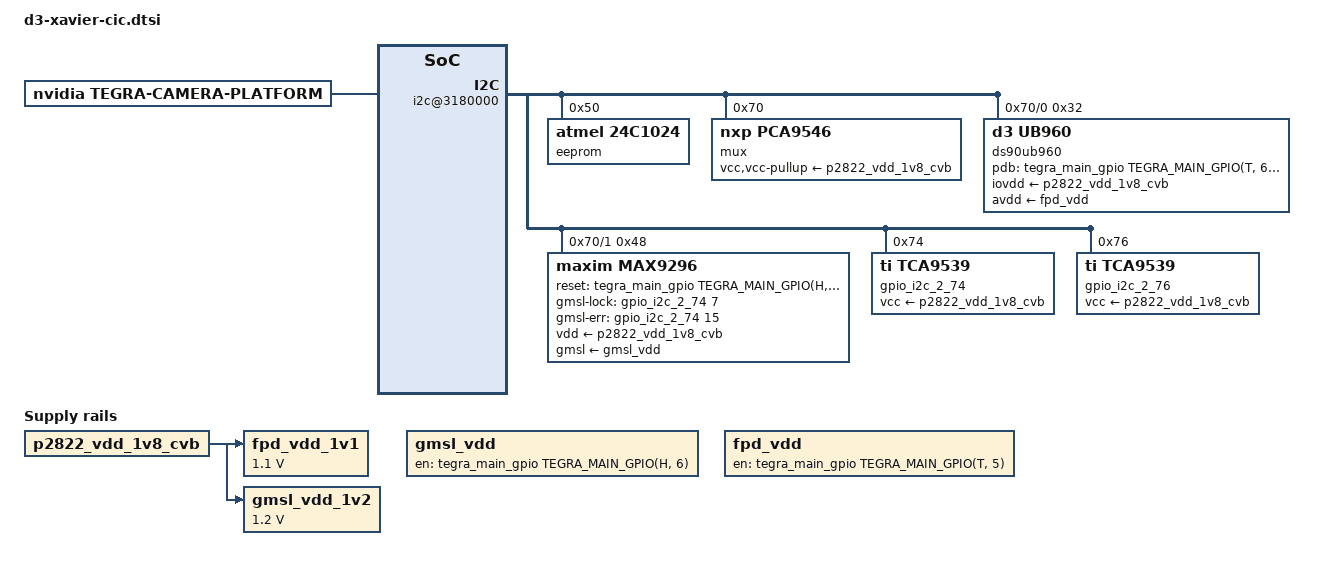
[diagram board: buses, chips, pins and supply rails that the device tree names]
/*
 * Copyright (c) 2018-2019, D3 Engineering.  All rights reserved.  * * This program is free software; you can redistribute it and/or modify * it under the terms of the GNU General Public License as published by
 * the Free Software Foundation; version 2 of the License.
 *
 * This program is distributed in the hope that it will be useful, but WITHOUT
 * ANY WARRANTY; without even the implied warranty of MERCHANTABILITY or
 * FITNESS FOR A PARTICULAR PURPOSE.  See the GNU General Public License for
 * more details.
 */
#include "d3-xavier.dtsi"
#define D3_BOARD_XAVIER_CIC
/ {

	/* I2C_CAM, DT alias: i2c2 (clock: C6, data: D6) */
	i2c@3180000 {

		/* Microchip 24AA1026 (U28) */
		eeprom@50 {
			status = "okay";
			compatible = "atmel,24c1024";
			reg = <0x50>;
			pagesize = <128>;

		};

		/* I2C MUX: TCA9546 (U27) */
		mux@70 {
			status = "okay";
			compatible = "nxp,pca9546";
			reg = <0x70>;
			#address-cells = <1>;
			#size-cells = <0>;
			vcc-supply = <&p2822_vdd_1v8_cvb>;
			vcc-pullup-supply = <&p2822_vdd_1v8_cvb>;

			i2c_fpdlink: i2c@0 {
				status = "okay";
				reg = <0>;
				#address-cells = <1>;
				#size-cells = <0>;
				i2c-mux,deselect-on-exit;

				/*  DS90UB960 Deserializer (U1) */
				ds90ub960: ub960@32 {
					status = "okay";
					compatible = "d3,ub960";
					reg = <0x32>;
					#address-cells = <1>;
					#size-cells = <0>;

					iovdd-supply = <&p2822_vdd_1v8_cvb>;
					avdd-supply = <&fpd_vdd>;
					pdb-gpios = <&tegra_main_gpio TEGRA_MAIN_GPIO(T, 6) GPIO_ACTIVE_LOW>;
					/* Valid values are: 1600, 1200, 800, 400 NOTE
					 * that 1600 is dependent upon REFCLK. For a 25Mhz
					 * REFCLK the speed is 1600, for 23 Mhz is it
					 * 1472, for for 26Mhz it is 1664
					 *
					 * If this is not present 1600* is used
					 */
					csi-tx-speed-mbps = <1600>;
					/* 1,2,3, or 4 */
					csi-lane-count = <4>;

					/* 0, or 1 */
					csi-continuous-clock = <1>;

					ds90ub960_link0: link@0 {
						status = "okay";
                                                reg = <0>;
						#address-cells = <1>;
						#size-cells = <0>;
					};

					ds90ub960_link1: link@1 {
						status = "okay";
						reg = <1>;
						#address-cells = <1>;
						#size-cells = <0>;
					};

					ds90ub960_link2: link@2 {
						status = "okay";
						reg = <2>;
						#address-cells = <1>;
						#size-cells = <0>;
					};

					ds90ub960_link3: link@3 {
						status = "okay";
						reg = <3>;
						#address-cells = <1>;
						#size-cells = <0>;
					};
				};
			};

			i2c_gmsl: i2c@1 {
				status = "okay";
				reg = <1>;
				#address-cells = <1>;
				#size-cells = <0>;
				i2c-mux,deselect-on-exit;

				/* MAX929 Deserializer (U2) */
				max9296: max9296@48 {
					status = "okay";
					compatible = "maxim,max9296";
					reg = <0x48>;
					#address-cells = <1>;
					#size-cells = <0>;
					vdd-supply = <&p2822_vdd_1v8_cvb>;
					gmsl-supply = <&gmsl_vdd>;
					reset-gpios = <&tegra_main_gpio TEGRA_MAIN_GPIO(H, 3) GPIO_ACTIVE_LOW>;
					gmsl-lock-gpios = <&gpio_i2c_2_74 7 GPIO_ACTIVE_HIGH>;
					gmsl-err-gpios = <&gpio_i2c_2_74 15 GPIO_ACTIVE_HIGH>;
					csi-tx-speed-mbps = <1600>;
					csi-lane-count = <4>;
					csi-continuous-clock = <1>;
					max9296_link0: link@0 {
						status = "okay";
						reg = <0>;
						#address-cells = <1>;
						#size-cells = <0>;
					};

					max9296_link1: link@1 {
						status = "okay";
						reg = <1>;
						#address-cells = <1>;
						#size-cells = <0>;
					};
				};
			};

			/* Bus 2 is not used */
			i2c_exp: i2c@2 {
				status = "okay";
				reg = <2>;
				#address-cells = <1>;
				#size-cells = <0>;
				i2c-mux,deselect-on-exit;
			};

			/* Bus 3 is not used */
			i2c_test: i2c@3 {
				status = "okay";
				reg = <3>;
				#address-cells = <1>;
				#size-cells = <0>;
				i2c-mux,deselect-on-exit;
			};
		};

		/* I2C GPIO expander TCA9539 (U29) */
		gpio_i2c_2_74: gpio@74 {
			status = "okay";
			compatible = "ti,tca9539";
			reg = <0x74>;
			#gpio-cells = <2>;
			gpio-controller;
			vcc-supply = <&p2822_vdd_1v8_cvb>;
			/* interrupt-controller; */
			/* interrupt-parent = <&tegra_aon_gpio>; */
			/* interrupts = <TEGRA_AON_GPIO(AA, 2) IRQ_TYPE_EDGE_BOTH>; */
		};

		/* I2C GPIO expander TCA9539 (U31) */
		gpio_i2c_2_76: gpio@76 {
			status = "okay";
			compatible = "ti,tca9539";
			reg = <0x76>;
			#gpio-cells = <2>;
			gpio-controller;
			vcc-supply = <&p2822_vdd_1v8_cvb>;
			/* interrupt-controller; */
			/* interrupt-parent = <&tegra_aon_gpio>; */
			/* interrupts = <TEGRA_AON_GPIO(AA, 2) IRQ_TYPE_EDGE_BOTH>; */
		};
	};

	fixed-regulators {
		/* 1.1V regulator (U5) */
		fpd_vdd_1v1: regulator@300 {
			status = "okay";
			reg = <0x12c>;
			regulator-name = "fpd-1v1";
			compatible = "regulator-fixed";
			regulator-always-on;
			regulator-min-microvolt = <1100000>;
			regulator-max-microvolt = <1100000>;
			vin-supply = <&p2822_vdd_1v8_cvb>;
		};
		/* 1.2V regulator (U20) */
		gmsl_vdd_1v2: regulator@301 {
			status = "okay";
			reg = <0x12d>;
			regulator-name = "gmsl-1v2";
			compatible = "regulator-fixed";
			regulator-always-on;
			regulator-min-microvolt = <1200000>;
			regulator-max-microvolt = <1200000>;
			vin-supply = <&p2822_vdd_1v8_cvb>;
		};
		/* GMSL regulator (U30) */
		/* Controlled by the Camera Connector Pin 93 */
		gmsl_vdd: regulator@302 {
			status = "okay";
			reg = <0x12e>;
			regulator-name = "gmsl_vdd";
			compatible = "regulator-fixed";
			regulator-always-on;
			gpio = <&tegra_main_gpio TEGRA_MAIN_GPIO(H, 6) GPIO_ACTIVE_LOW>;
			enable-active-high;
		};
		/* FPD-Link regulator (U21) */
		/* Controlled by the Camera Connector Pin 90 */
		fpd_vdd: regulator@303 {
			status = "okay";
			reg = <0x12f>;
			regulator-name = "fpd_vdd";
			compatible = "regulator-fixed";
			regulator-always-on;
			gpio = <&tegra_main_gpio TEGRA_MAIN_GPIO(T, 5) GPIO_ACTIVE_LOW>;
			enable-active-high;
		};
	};

	tegra-camera-platform {
		compatible = "nvidia, tegra-camera-platform";
		num_csi_lanes = <8>;
		max_lane_speed = <1500000>;
	};
};


&vi_base {
	num-channels = <6>;
	vi_ports: ports {
		#address-cells = <1>;
		#size-cells = <0>;
	};
};

&csi_base {
	num-channels = <6>;
};

#include "d3-cic-cam0-3.dtsi"
#include "d3-cic-cam4.dtsi"
